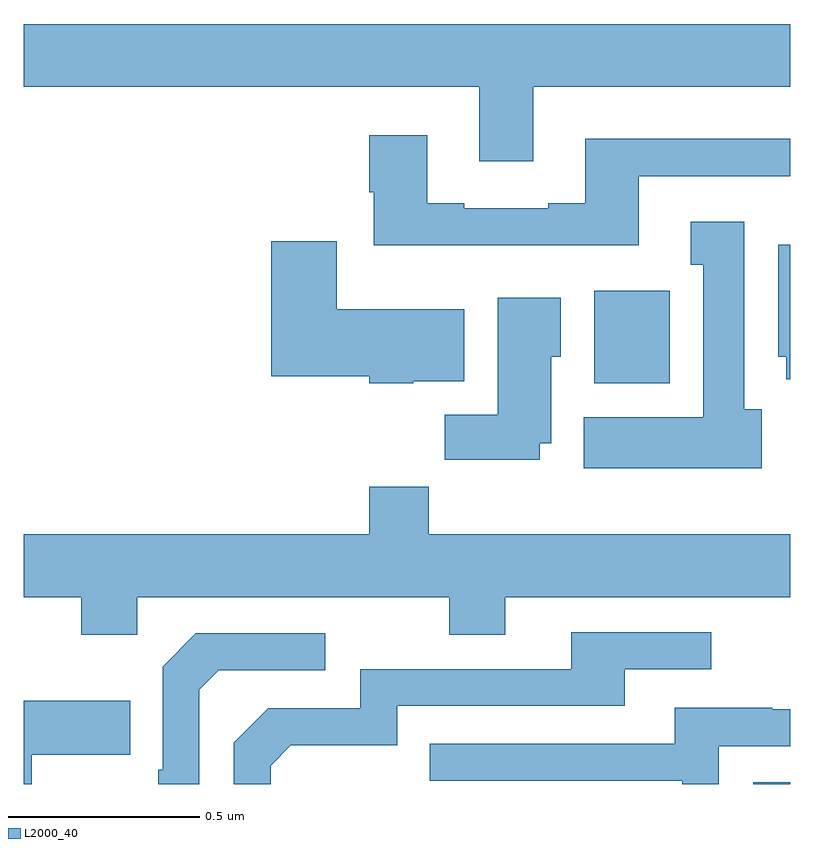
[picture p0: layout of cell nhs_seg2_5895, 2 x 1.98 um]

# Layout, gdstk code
import gdstk
lib = gdstk.Library(unit=1e-6, precision=1e-09)
def R(c, l, rs):  # rectangles x0, y0, x1, y1
    for r in rs: c.add(gdstk.rectangle(r[:2], r[2:], *l))
def P(c, l, *ps):  # polygons
    for p in ps: c.add(gdstk.Polygon(p, *l))
L2000_40 = (2000, 40)

nhs_seg2_5895 = lib.new_cell('nhs_seg2_5895')
R(nhs_seg2_5895, L2000_40, [(185.904,661.8,186,661.804), (185.489,662.846,185.686,663.088)])
P(nhs_seg2_5895, L2000_40, [(185.329,663.62),(186,663.62),(186,663.784),(184,663.784),(184,663.62),(185.189,663.62),(185.189,663.426),(185.329,663.426)],
  [(185.605,663.387),(186,663.387),(186,663.484),(185.465,663.484),(185.465,663.316),(185.369,663.316),(185.369,663.303),(185.149,663.303),(185.149,663.316),(185.053,663.316),(185.053,663.493),(184.901,663.493),(184.901,663.345),(184.913,663.345),(184.913,663.206),(185.605,663.206)],
  [(185.926,662.778),(185.881,662.778),(185.881,663.268),(185.741,663.268),(185.741,663.155),(185.774,663.155),(185.774,662.758),(185.462,662.758),(185.462,662.624),(185.926,662.624)],
  [(185.016,662.852),(185.149,662.852),(185.149,663.04),(184.816,663.04),(184.816,663.217),(184.646,663.217),(184.646,662.864),(184.902,662.864),(184.902,662.846),(185.016,662.846)],
  [(186,663.208),(185.969,663.208),(185.969,662.916),(185.99,662.916),(185.99,662.856),(186,662.856)],
  [(185.347,662.69),(185.377,662.69),(185.377,662.916),(185.401,662.916),(185.401,663.07),(185.237,663.07),(185.237,662.764),(185.098,662.764),(185.098,662.646),(185.347,662.646)],
  [(184.296,662.288),(185.11,662.288),(185.11,662.189),(185.257,662.189),(185.257,662.288),(186,662.288),(186,662.452),(185.057,662.452),(185.057,662.576),(184.901,662.576),(184.901,662.452),(184,662.452),(184,662.288),(184.15,662.288),(184.15,662.189),(184.296,662.189)],
  [(184.644,661.848),(184.697,661.901),(184.974,661.901),(184.974,662.004),(185.569,662.004),(185.569,662.1),(185.794,662.1),(185.794,662.196),(185.429,662.196),(185.429,662.1),(184.878,662.1),(184.878,661.998),(184.638,661.998),(184.548,661.908),(184.548,661.8),(184.644,661.8)],
  [(184.458,662.046),(184.509,662.097),(184.786,662.097),(184.786,662.193),(184.449,662.193),(184.362,662.106),(184.362,661.837),(184.35,661.837),(184.35,661.8),(184.458,661.8)],
  [(184.021,661.877),(184.277,661.877),(184.277,662.017),(184,662.017),(184,661.8),(184.021,661.8)],
  [(185.814,661.899),(186,661.899),(186,661.995),(185.953,661.995),(185.953,661.999),(185.699,661.999),(185.699,661.905),(185.059,661.905),(185.059,661.809),(185.718,661.809),(185.718,661.8),(185.814,661.8)])

lib.write_gds('nhs_seg2_5895.gds')
